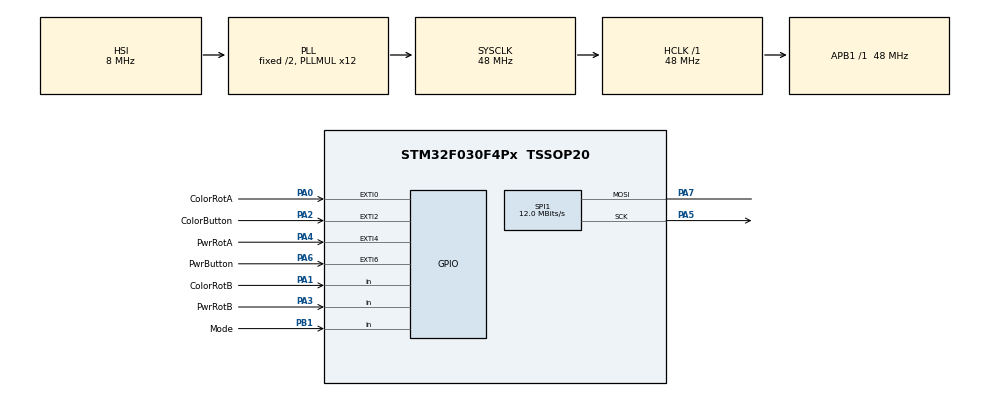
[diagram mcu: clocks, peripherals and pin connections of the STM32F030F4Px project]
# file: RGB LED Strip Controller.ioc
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Dma.Request0=SPI1_TX
Dma.SPI1_TX.0.Direction=DMA_MEMORY_TO_PERIPH
Dma.SPI1_TX.0.Instance=DMA1_Channel3
Dma.SPI1_TX.0.MemDataAlignment=DMA_MDATAALIGN_BYTE
Dma.SPI1_TX.0.MemInc=DMA_MINC_ENABLE
Dma.SPI1_TX.0.Mode=DMA_NORMAL
Dma.SPI1_TX.0.PeriphDataAlignment=DMA_PDATAALIGN_BYTE
Dma.SPI1_TX.0.PeriphInc=DMA_PINC_DISABLE
Dma.SPI1_TX.0.Priority=DMA_PRIORITY_HIGH
Mcu.Family=STM32F0
Mcu.Name=STM32F030F4Px
Mcu.Package=TSSOP20
NVIC.DMA1_Channel2_3_IRQn=true\:0\:0\:false\:false\:true\:true
NVIC.EXTI0_1_IRQn=true\:0\:0\:false\:false\:true\:true
NVIC.EXTI2_3_IRQn=true\:0\:0\:false\:false\:true\:true
NVIC.EXTI4_15_IRQn=true\:0\:0\:false\:false\:true\:true
PA0.GPIO_Label=ColorRotA
PA0.GPIO_ModeDefaultEXTI=GPIO_MODE_IT_RISING
PA0.Signal=GPXTI0
PA1.GPIO_Label=ColorRotB
PA1.Signal=GPIO_Input
PA13.Mode=Serial_Wire
PA13.Signal=SYS_SWDIO
PA14.Mode=Serial_Wire
PA14.Signal=SYS_SWCLK
PA2.GPIO_Label=ColorButton
PA2.GPIO_ModeDefaultEXTI=GPIO_MODE_IT_RISING
PA2.Signal=GPXTI2
PA3.GPIO_Label=PwrRotB
PA3.Signal=GPIO_Input
PA4.GPIO_Label=PwrRotA
PA4.GPIO_ModeDefaultEXTI=GPIO_MODE_IT_RISING
PA4.Signal=GPXTI4
PA5.Mode=Simplex_Bidirectional_Master
PA5.Signal=SPI1_SCK
PA6.GPIO_Label=PwrButton
PA6.Signal=GPXTI6
PA7.Mode=Simplex_Bidirectional_Master
PA7.Signal=SPI1_MOSI
PB1.GPIO_Label=Mode
PB1.Signal=GPIO_Input
ProjectManager.HeapSize=0x400
ProjectManager.StackSize=0x200
ProjectManager.TargetToolchain=MDK-ARM V5
RCC.AHBFreq_Value=48000000
RCC.APB1Freq_Value=48000000
RCC.APB1TimFreq_Value=48000000
RCC.HCLKFreq_Value=48000000
RCC.PLLMUL=RCC_PLL_MUL12
RCC.SYSCLKFreq_VALUE=48000000
RCC.SYSCLKSource=RCC_SYSCLKSOURCE_PLLCLK
SPI1.BaudRatePrescaler=SPI_BAUDRATEPRESCALER_4
SPI1.CalculateBaudRate=12.0 MBits/s
SPI1.DataSize=SPI_DATASIZE_8BIT
SPI1.Direction=SPI_DIRECTION_1LINE
SPI1.Mode=SPI_MODE_MASTER
SPI1.NSSPMode=SPI_NSS_PULSE_DISABLE
SPI1.VirtualType=VM_MASTER
board=RGB LED Strip Controller

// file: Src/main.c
/**
  ******************************************************************************
  * @file           : main.c
  * @brief          : Main program body
  ******************************************************************************
  ** This notice applies to any and all portions of this file
  * that are not between comment pairs USER CODE BEGIN and
  * USER CODE END. Other portions of this file, whether
  * inserted by the user or by software development tools
  * are owned by their respective copyright owners.
  *
  * COPYRIGHT(c) 2018 STMicroelectronics
  *
  * Redistribution and use in source and binary forms, with or without modification,
  * are permitted provided that the following conditions are met:
  *   1. Redistributions of source code must retain the above copyright notice,
  *      this list of conditions and the following disclaimer.
  *   2. Redistributions in binary form must reproduce the above copyright notice,
  *      this list of conditions and the following disclaimer in the documentation
  *      and/or other materials provided with the distribution.
  *   3. Neither the name of STMicroelectronics nor the names of its contributors
  *      may be used to endorse or promote products derived from this software
  *      without specific prior written permission.
  *
  * THIS SOFTWARE IS PROVIDED BY THE COPYRIGHT HOLDERS AND CONTRIBUTORS "AS IS"
  * AND ANY EXPRESS OR IMPLIED WARRANTIES, INCLUDING, BUT NOT LIMITED TO, THE
  * IMPLIED WARRANTIES OF MERCHANTABILITY AND FITNESS FOR A PARTICULAR PURPOSE ARE
  * DISCLAIMED. IN NO EVENT SHALL THE COPYRIGHT HOLDER OR CONTRIBUTORS BE LIABLE
  * FOR ANY DIRECT, INDIRECT, INCIDENTAL, SPECIAL, EXEMPLARY, OR CONSEQUENTIAL
  * DAMAGES (INCLUDING, BUT NOT LIMITED TO, PROCUREMENT OF SUBSTITUTE GOODS OR
  * SERVICES; LOSS OF USE, DATA, OR PROFITS; OR BUSINESS INTERRUPTION) HOWEVER
  * CAUSED AND ON ANY THEORY OF LIABILITY, WHETHER IN CONTRACT, STRICT LIABILITY,
  * OR TORT (INCLUDING NEGLIGENCE OR OTHERWISE) ARISING IN ANY WAY OUT OF THE USE
  * OF THIS SOFTWARE, EVEN IF ADVISED OF THE POSSIBILITY OF SUCH DAMAGE.
  *
  ******************************************************************************
  */
#include "main.h"
#include "stm32f0xx_hal.h"
#include "stdlib.h"

/* USER CODE BEGIN Includes */
#include "math.h"
#define NLEDS 30
//Mode: NeoPixel = 0, DotStar = 2 != 0
#define ModeInput() GPIOB->IDR & 0x00000002
#define GetColorRotB() GPIOA->IDR & 0x00000002
#define GetPwrRotB() GPIOA->IDR & 0x00000008
#define HUE_INCREMENT 2
#define INTENSITY_INCREMENT 0.05
/* USER CODE END Includes */

SPI_HandleTypeDef hspi1;
DMA_HandleTypeDef hdma_spi1_tx;

/* USER CODE BEGIN PV */
/* Private variables ---------------------------------------------------------*/
uint32_t colors_buffer[NLEDS+2];
uint32_t * colors_array = colors_buffer + 1;
double LedIntensity = 0.1;
double LedHue = 0;
uint32_t DisplayWhite = 0;
/* USER CODE END PV */

void SystemClock_Config(void);
static void MX_GPIO_Init(void);
static void MX_DMA_Init(void);
static void MX_SPI1_Init(void);

/* USER CODE BEGIN PFP */
/* Private function prototypes -----------------------------------------------*/
uint32_t RGB(uint8_t R, uint8_t G, uint8_t B);
uint32_t Hue2RGB(double H, double V);
uint32_t getTrueRandomNumber(void);
void TransmitNeopixel(uint32_t * colors);
void TransmitDotstar(uint32_t * colors);
/* USER CODE END PFP */

int main(void)
{
  /* USER CODE BEGIN 1 */
  int i;
  /* USER CODE END 1 */

  /* MCU Configuration----------------------------------------------------------*/

  /* Reset of all peripherals, Initializes the Flash interface and the Systick. */
  HAL_Init();

  /* Configure the system clock */
  SystemClock_Config();

  /* Initialize all configured peripherals */
  MX_GPIO_Init();
  MX_DMA_Init();
  MX_SPI1_Init();
  /* USER CODE BEGIN 2 */
  colors_buffer[0] = 0;
	colors_buffer[NLEDS + 1] = 0xFFFFFFFF;
	srand(123);
	LedHue = fmod(rand() % 360, 360);

	GPIOB -> ODR |= GPIO_PIN_1;
  /* USER CODE END 2 */

  /* Infinite loop */
  while (1)
  {

  /* USER CODE BEGIN 3 */
		for(i = 0; i < NLEDS; i++) {
			if(DisplayWhite) {
				colors_array[i] = RGB(255.0*LedIntensity, 255.0*LedIntensity, 255.0*LedIntensity);
			} else {
				colors_array[i] = Hue2RGB(LedHue, LedIntensity);
			}
		}
		TransmitDotstar(colors_buffer);
  }
  /* USER CODE END 3 */

}

void SystemClock_Config(void)
{

  RCC_OscInitTypeDef RCC_OscInitStruct;
  RCC_ClkInitTypeDef RCC_ClkInitStruct;

    /**Initializes the CPU, AHB and APB busses clocks
    */
  RCC_OscInitStruct.OscillatorType = RCC_OSCILLATORTYPE_HSI;
  RCC_OscInitStruct.HSIState = RCC_HSI_ON;
  RCC_OscInitStruct.HSICalibrationValue = 16;
  RCC_OscInitStruct.PLL.PLLState = RCC_PLL_ON;
  RCC_OscInitStruct.PLL.PLLSource = RCC_PLLSOURCE_HSI;
  RCC_OscInitStruct.PLL.PLLMUL = RCC_PLL_MUL12;
  RCC_OscInitStruct.PLL.PREDIV = RCC_PREDIV_DIV1;
  if (HAL_RCC_OscConfig(&RCC_OscInitStruct) != HAL_OK)
  {
    _Error_Handler(__FILE__, __LINE__);
  }

    /**Initializes the CPU, AHB and APB busses clocks
    */
  RCC_ClkInitStruct.ClockType = RCC_CLOCKTYPE_HCLK|RCC_CLOCKTYPE_SYSCLK
                              |RCC_CLOCKTYPE_PCLK1;
  RCC_ClkInitStruct.SYSCLKSource = RCC_SYSCLKSOURCE_PLLCLK;
  RCC_ClkInitStruct.AHBCLKDivider = RCC_SYSCLK_DIV1;
  RCC_ClkInitStruct.APB1CLKDivider = RCC_HCLK_DIV1;

  if (HAL_RCC_ClockConfig(&RCC_ClkInitStruct, FLASH_LATENCY_1) != HAL_OK)
  {
    _Error_Handler(__FILE__, __LINE__);
  }

    /**Configure the Systick interrupt time
    */
  HAL_SYSTICK_Config(HAL_RCC_GetHCLKFreq()/1000);

    /**Configure the Systick
    */
  HAL_SYSTICK_CLKSourceConfig(SYSTICK_CLKSOURCE_HCLK);

  /* SysTick_IRQn interrupt configuration */
  HAL_NVIC_SetPriority(SysTick_IRQn, 0, 0);
}

/* SPI1 init function */
static void MX_SPI1_Init(void)
{

  /* SPI1 parameter configuration*/
  hspi1.Instance = SPI1;
  hspi1.Init.Mode = SPI_MODE_MASTER;
  hspi1.Init.Direction = SPI_DIRECTION_1LINE;
  hspi1.Init.DataSize = SPI_DATASIZE_8BIT;
  hspi1.Init.CLKPolarity = SPI_POLARITY_LOW;
  hspi1.Init.CLKPhase = SPI_PHASE_1EDGE;
  hspi1.Init.NSS = SPI_NSS_SOFT;
  hspi1.Init.BaudRatePrescaler = SPI_BAUDRATEPRESCALER_4;
  hspi1.Init.FirstBit = SPI_FIRSTBIT_MSB;
  hspi1.Init.TIMode = SPI_TIMODE_DISABLE;
  hspi1.Init.CRCCalculation = SPI_CRCCALCULATION_DISABLE;
  hspi1.Init.CRCPolynomial = 7;
  hspi1.Init.CRCLength = SPI_CRC_LENGTH_DATASIZE;
  hspi1.Init.NSSPMode = SPI_NSS_PULSE_DISABLE;
  if (HAL_SPI_Init(&hspi1) != HAL_OK)
  {
    _Error_Handler(__FILE__, __LINE__);
  }

}

static void MX_DMA_Init(void)
{
  /* DMA controller clock enable */
  __HAL_RCC_DMA1_CLK_ENABLE();

  /* DMA interrupt init */
  /* DMA1_Channel2_3_IRQn interrupt configuration */
  HAL_NVIC_SetPriority(DMA1_Channel2_3_IRQn, 0, 0);
  HAL_NVIC_EnableIRQ(DMA1_Channel2_3_IRQn);

}

/** Configure pins as
        * Analog
        * Input
        * Output
        * EVENT_OUT
        * EXTI
*/
static void MX_GPIO_Init(void)
{

  GPIO_InitTypeDef GPIO_InitStruct;

  /* GPIO Ports Clock Enable */
  __HAL_RCC_GPIOA_CLK_ENABLE();
  __HAL_RCC_GPIOB_CLK_ENABLE();

  /*Configure GPIO pins : ColorRotA_Pin ColorButton_Pin PwrRotA_Pin PwrButton_Pin */
  GPIO_InitStruct.Pin = ColorRotA_Pin|ColorButton_Pin|PwrRotA_Pin|PwrButton_Pin;
  GPIO_InitStruct.Mode = GPIO_MODE_IT_RISING;
  GPIO_InitStruct.Pull = GPIO_NOPULL;
  HAL_GPIO_Init(GPIOA, &GPIO_InitStruct);

  /*Configure GPIO pins : ColorRotB_Pin PwrRotB_Pin */
  GPIO_InitStruct.Pin = ColorRotB_Pin|PwrRotB_Pin;
  GPIO_InitStruct.Mode = GPIO_MODE_INPUT;
  GPIO_InitStruct.Pull = GPIO_NOPULL;
  HAL_GPIO_Init(GPIOA, &GPIO_InitStruct);

  /*Configure GPIO pin : Mode_Pin */
  GPIO_InitStruct.Pin = Mode_Pin;
  GPIO_InitStruct.Mode = GPIO_MODE_INPUT;
  GPIO_InitStruct.Pull = GPIO_NOPULL;
  HAL_GPIO_Init(Mode_GPIO_Port, &GPIO_InitStruct);

  /* EXTI interrupt init*/
  HAL_NVIC_SetPriority(EXTI0_1_IRQn, 0, 0);
  HAL_NVIC_EnableIRQ(EXTI0_1_IRQn);

  HAL_NVIC_SetPriority(EXTI2_3_IRQn, 0, 0);
  HAL_NVIC_EnableIRQ(EXTI2_3_IRQn);

  HAL_NVIC_SetPriority(EXTI4_15_IRQn, 0, 0);
  HAL_NVIC_EnableIRQ(EXTI4_15_IRQn);

}

/* USER CODE BEGIN 4 */
uint32_t RGB(uint8_t R, uint8_t G, uint8_t B)
{
    return __REV(0xFF000000 | (uint32_t)B << 16 | (uint32_t)G << 8 | (uint32_t)R);
}

uint32_t Hue2RGB(double H, double V)
{
    H = fmod(H, 360);
    if(V > 1)
        V = 1;
    if(V < 0)
        V = 0;
    double X = V * (1 - fabs(fmod(H / 60, 2) - 1));
    int S = ((uint32_t)H) / 60;
    switch(S)
    {
        case 0:
            return RGB((uint8_t)(V*255), (uint8_t)(X*255), 0);
        case 1:
            return RGB((uint8_t)(X*255), (uint8_t)(V*255), 0);
        case 2:
            return RGB(0, (uint8_t)(V*255), (uint8_t)(X*255));
        case 3:
            return RGB(0, (uint8_t)(X*255), (uint8_t)(V*255));
        case 4:
            return RGB((uint8_t)(X*255), 0, (uint8_t)(V*255));
        case 5:
            return RGB((uint8_t)(V*255), 0, (uint8_t)(X*255));
        default:
            return RGB(0, 0, 0);
    }
}

void TransmitNeopixel(uint32_t * colors)
{
}

void TransmitDotstar(uint32_t * colors)
{
	HAL_StatusTypeDef spi_status;
	do
	{
		spi_status = HAL_SPI_Transmit(&hspi1, (uint8_t *)colors, (NLEDS+2)*4, HAL_MAX_DELAY);
	}
	while(spi_status == HAL_BUSY);
}

void HAL_GPIO_EXTI_Callback(uint16_t GPIO_Pin)
{
	switch(GPIO_Pin)
	{
		case ColorRotA_Pin:
			DisplayWhite = 0;
			if(GetColorRotB())
				LedHue += HUE_INCREMENT;
			else
				LedHue -= HUE_INCREMENT;
			LedHue = fmod(LedHue, 360);
			break;
		case ColorButton_Pin:
			LedHue = fmod(rand() % 360, 360);
   		break;
		case PwrRotA_Pin:
			if(GetPwrRotB())
				LedIntensity += INTENSITY_INCREMENT;
			else
				LedIntensity -= INTENSITY_INCREMENT;
			if(LedIntensity > 1)
				LedIntensity = 1;
			if(LedIntensity < INTENSITY_INCREMENT)
				LedIntensity = INTENSITY_INCREMENT;
			break;
		case PwrButton_Pin:
			if(LedIntensity > INTENSITY_INCREMENT)
				LedIntensity = INTENSITY_INCREMENT;
			else
				LedIntensity = 1;
			break;
	}

	GPIOB -> ODR ^= GPIO_PIN_1;
}

/* USER CODE END 4 */

void _Error_Handler(char *file, int line)
{
  while(1)
  {
  }
}

/************************ (C) COPYRIGHT STMicroelectronics *****END OF FILE****/
